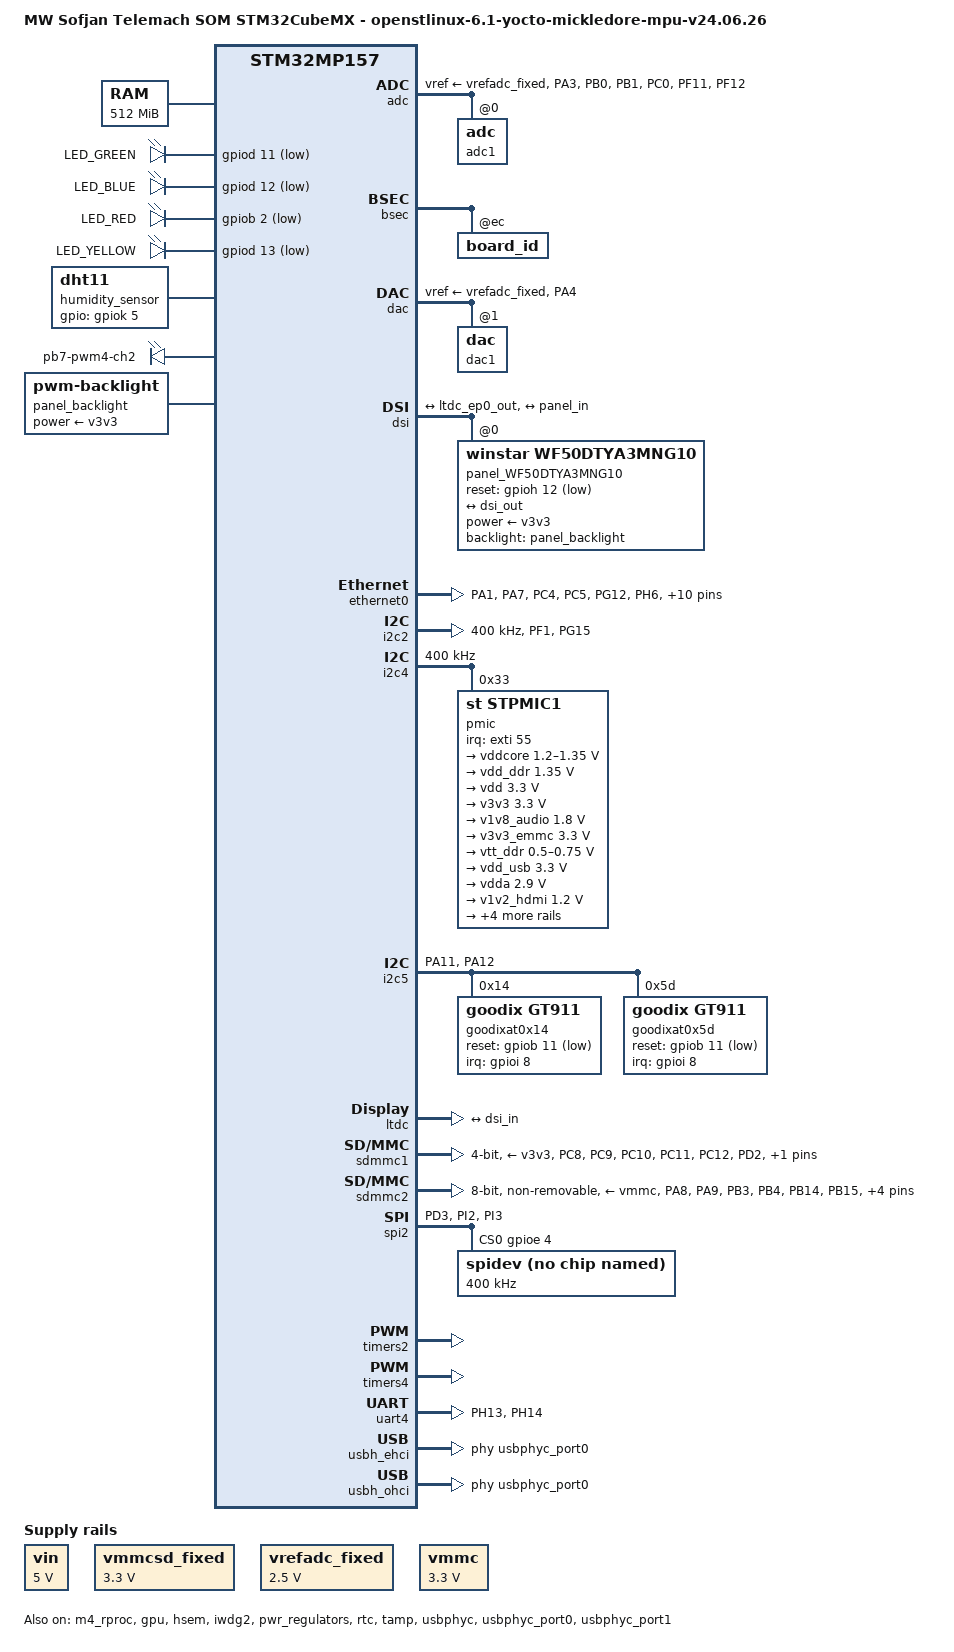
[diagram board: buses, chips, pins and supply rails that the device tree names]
// SPDX-License-Identifier: (GPL-2.0-or-later OR BSD-3-Clause)
/*
 * Copyright (C) 2024, STMicroelectronics - All Rights Reserved
 * Author: STM32CubeMX code generation for STMicroelectronics.
 */

/* For more information on Device Tree configuration, please refer to
 * https://wiki.st.com/stm32mpu/wiki/Category:Device_tree_configuration
 */

/dts-v1/;

#include <dt-bindings/pinctrl/stm32-pinfunc.h>
#include "stm32mp157.dtsi"
#include "stm32mp15xc.dtsi"
#include "stm32mp15xxaa-pinctrl.dtsi"
#include "stm32mp15-m4-srm.dtsi"

/* USER CODE BEGIN includes */
#include "stm32mp15-scmi.dtsi"
#include <dt-bindings/mfd/st,stpmic1.h>
#include <dt-bindings/rtc/rtc-stm32.h>
/* USER CODE END includes */

/ {
	model = "MW Sofjan Telemach SOM STM32CubeMX - openstlinux-6.1-yocto-mickledore-mpu-v24.06.26";
	compatible = "st,stm32mp157c-telemach-som-mx", "st,stm32mp157";

	memory@c0000000 {
		device_type = "memory";
		reg = <0xc0000000 0x20000000>;

		/* USER CODE BEGIN memory */
		/* USER CODE END memory */
	};

	reserved-memory {
		#address-cells = <1>;
		#size-cells = <1>;
		ranges;

		/* USER CODE BEGIN reserved-memory */
		mcuram:mcuram@0x30000000 {
		compatible = "shared-dma-pool";
		reg =  <0x30000000 0x40000>; /* define memory base and size for Cortex-M4 firmware*/
		no-map;
		};

		mcuram2:mcuram2@10000000{
			compatible = "shared-dma-pool";
			reg = <0x10000000 0x40000>;
			no-map;
		};

		vdev0vring0:vdev0vring0@10040000{
			compatible = "shared-dma-pool";
			reg = <0x10040000 0x1000>;
			no-map;
		};

		vdev0vring1:vdev0vring1@10041000{
			compatible = "shared-dma-pool";
			reg = <0x10041000 0x1000>;
			no-map;
		};

		vdev0buffer:vdev0buffer@10042000{
			compatible = "shared-dma-pool";
			reg = <0x10042000 0x4000>;
			no-map;
		};


		/* RETRAM memory region reserved for firmware code and data */
		retram: retram@0x38000000 {
			reg = <0x38000000 0x10000>;
		};

		optee_memory:optee@0xde000000{
			reg = <0xde000000 0x02000000>;
			no-map;
			status = "okay";
		};

		fb_reserved: fb@fd000000 {
			reg = <0xfd000000 0x8000000>;
			no-map;
		};
		/* USER CODE END reserved-memory */
	};

	/* USER CODE BEGIN root */
	led{
		compatible = "gpio-leds";

		led1_grn{
			label = "LED_GREEN";
			gpios = <&gpiod 11 GPIO_ACTIVE_LOW>;
			linux,default-trigger = "heartbeat";
			status = "okay";
			default-state = "off";
		};

		led2_blue{
			label = "LED_BLUE";
			gpios = <&gpiod 12 GPIO_ACTIVE_LOW>;
			linux,default-trigger = "cpu0";
			status = "okay";
			default-state = "off";
		};

		led3_red{
			label = "LED_RED";
			gpios = <&gpiob 2 GPIO_ACTIVE_LOW>;
			status = "okay";
			default-state = "off";
		};

		led4_grn{
			label = "LED_YELLOW";
			gpios = <&gpiod 13 GPIO_ACTIVE_LOW>;
			default-state = "off";
		};
	};

	humidity_sensor: humidity-sensor {
        compatible = "dht11";
        gpios = <&gpiok 5 0>;
    };

	/*
	panel_backlight: panel-backlight {
		compatible = "gpio-backlight";
		gpios = <&gpioa 15 GPIO_ACTIVE_HIGH>;
		default-on;
		status = "okay";
	};
	*/

	pwmleds {
		compatible = "pwm-leds";
		control {
			label = "pb7-pwm4-ch2";
			/*pwms = <&{/soc/timer@40002000/pwm} 1 500000 0>;*/
			max-brightness = <4096>;
		};
	};

	panel_backlight: panel_backlight {
		compatible = "pwm-backlight";
		/*pwms = <&{/soc/timer@40000000/pwm} 0 500000 0>;*/
		brightness-levels = <0 4 8 16 32 64 128 255>;
		default-brightness-level = <2>;
		power-supply = <&v3v3>;
		status = "okay";
	};

	usb_phy_tuning:usb-phy-tuning{
		st,hs-dc-level = <2>;
		st,fs-rftime-tuning;
		st,hs-rftime-reduction;
		st,hs-current-trim = <15>;
		st,hs-impedance-trim = <1>;
		st,squelch-level = <3>;
		st,hs-rx-offset = <2>;
		st,no-lsfs-sc;
	};

	vin:vin{
		compatible = "regulator-fixed";
		regulator-name = "vin";
		regulator-min-microvolt = <5000000>;
		regulator-max-microvolt = <5000000>;
		regulator-always-on;
	};

	vmmcsd_fixed: fixedregulator@0 {
		compatible = "regulator-fixed";
		regulator-name = "vmmcsd_fixed";
		regulator-min-microvolt = <3300000>;
		regulator-max-microvolt = <3300000>;
		regulator-always-on;
	};

	vrefadc_fixed: fixedregulator@0 {
		compatible = "regulator-fixed";
		regulator-name = "vrefadc_fixed";
		regulator-min-microvolt = <2500000>;
		regulator-max-microvolt = <2500000>;
		regulator-always-on;
	};

	vmmc: fixedregulator@1 {
		compatible = "regulator-fixed";
		regulator-name = "vmmc";
		regulator-min-microvolt = <3300000>;
		regulator-max-microvolt = <3300000>;
		startup-delay-us = <70000>;
		enable-active-high;
		regulator-always-on;
		};

	aliases{
		serial0 = &uart4;
		mmc0 = &sdmmc1;
		mmc1 = &sdmmc2;
	};

	chosen{
		#address-cells = <1>;
		#size-cells = <1>;
		ranges;
		stdout-path = "serial0:115200n8";
		framebuffer {
			compatible = "simple-framebuffer";
			clocks = <&rcc LTDC_PX>;
			status = "disabled";
		};
	};
	/* USER CODE END root */

	clocks{

		/* USER CODE BEGIN clocks */
		/* USER CODE END clocks */
	};

}; /*root*/

&pinctrl {

	adc_pins_mx: adc_mx-0 {
		pins {
			pinmux = <STM32_PINMUX('A', 3, ANALOG)>, /* ADC1_INP15 */
					 <STM32_PINMUX('B', 0, ANALOG)>, /* ADC1_INP9 */
					 <STM32_PINMUX('B', 1, ANALOG)>, /* ADC1_INP5 */
					 <STM32_PINMUX('C', 0, ANALOG)>, /* ADC1_INP10 */
					 <STM32_PINMUX('F', 11, ANALOG)>, /* ADC1_INP2 */
					 <STM32_PINMUX('F', 12, ANALOG)>; /* ADC1_INP6 */
		};
	};

	adc_sleep_pins_mx: adc_sleep_mx-0 {
		pins {
			pinmux = <STM32_PINMUX('A', 3, ANALOG)>, /* ADC1_INP15 */
					 <STM32_PINMUX('B', 0, ANALOG)>, /* ADC1_INP9 */
					 <STM32_PINMUX('B', 1, ANALOG)>, /* ADC1_INP5 */
					 <STM32_PINMUX('C', 0, ANALOG)>, /* ADC1_INP10 */
					 <STM32_PINMUX('F', 11, ANALOG)>, /* ADC1_INP2 */
					 <STM32_PINMUX('F', 12, ANALOG)>; /* ADC1_INP6 */
		};
	};

	dac1_pins_mx: dac1_mx-0 {
		pins {
			pinmux = <STM32_PINMUX('A', 4, ANALOG)>; /* DAC1_OUT1 */
		};
	};

	dac1_sleep_pins_mx: dac1_sleep_mx-0 {
		pins {
			pinmux = <STM32_PINMUX('A', 4, ANALOG)>; /* DAC1_OUT1 */
		};
	};

	eth1_pins_mx: eth1_mx-0 {
		pins1 {
			pinmux = <STM32_PINMUX('A', 1, AF11)>, /* ETH1_RX_CLK */
					 <STM32_PINMUX('A', 7, AF11)>, /* ETH1_RX_CTL */
					 <STM32_PINMUX('C', 4, AF11)>, /* ETH1_RXD0 */
					 <STM32_PINMUX('C', 5, AF11)>, /* ETH1_RXD1 */
					 <STM32_PINMUX('G', 12, AF11)>, /* ETH1_PHY_INTN */
					 <STM32_PINMUX('H', 6, AF11)>, /* ETH1_RXD2 */
					 <STM32_PINMUX('H', 7, AF11)>; /* ETH1_RXD3 */
			bias-disable;
		};
		pins2 {
			pinmux = <STM32_PINMUX('A', 2, AF11)>; /* ETH1_MDIO */
			bias-disable;
			drive-push-pull;
			slew-rate = <0>;
		};
		pins3 {
			pinmux = <STM32_PINMUX('B', 12, AF11)>, /* ETH1_TXD0 */
					 <STM32_PINMUX('B', 13, AF11)>, /* ETH1_TXD1 */
					 <STM32_PINMUX('C', 1, AF11)>, /* ETH1_MDC */
					 <STM32_PINMUX('C', 2, AF11)>, /* ETH1_TXD2 */
					 <STM32_PINMUX('E', 2, AF11)>, /* ETH1_TXD3 */
					 <STM32_PINMUX('G', 4, AF11)>, /* ETH1_GTX_CLK */
					 <STM32_PINMUX('G', 5, AF11)>, /* ETH1_CLK125 */
					 <STM32_PINMUX('G', 11, AF11)>; /* ETH1_TX_CTL */
			bias-disable;
			drive-push-pull;
			slew-rate = <2>;
		};
	};

	eth1_sleep_pins_mx: eth1_sleep_mx-0 {
		pins {
			pinmux = <STM32_PINMUX('A', 1, ANALOG)>, /* ETH1_RX_CLK */
					 <STM32_PINMUX('A', 2, ANALOG)>, /* ETH1_MDIO */
					 <STM32_PINMUX('A', 7, ANALOG)>, /* ETH1_RX_CTL */
					 <STM32_PINMUX('B', 12, ANALOG)>, /* ETH1_TXD0 */
					 <STM32_PINMUX('B', 13, ANALOG)>, /* ETH1_TXD1 */
					 <STM32_PINMUX('C', 1, ANALOG)>, /* ETH1_MDC */
					 <STM32_PINMUX('C', 2, ANALOG)>, /* ETH1_TXD2 */
					 <STM32_PINMUX('C', 4, ANALOG)>, /* ETH1_RXD0 */
					 <STM32_PINMUX('C', 5, ANALOG)>, /* ETH1_RXD1 */
					 <STM32_PINMUX('E', 2, ANALOG)>, /* ETH1_TXD3 */
					 <STM32_PINMUX('G', 4, ANALOG)>, /* ETH1_GTX_CLK */
					 <STM32_PINMUX('G', 5, ANALOG)>, /* ETH1_CLK125 */
					 <STM32_PINMUX('G', 11, ANALOG)>, /* ETH1_TX_CTL */
					 <STM32_PINMUX('G', 12, ANALOG)>, /* ETH1_PHY_INTN */
					 <STM32_PINMUX('H', 6, ANALOG)>, /* ETH1_RXD2 */
					 <STM32_PINMUX('H', 7, ANALOG)>; /* ETH1_RXD3 */
		};
	};

	i2c2_pins_mx: i2c2_mx-0 {
		pins {
			pinmux = <STM32_PINMUX('F', 1, AF4)>, /* I2C2_SCL */
					 <STM32_PINMUX('G', 15, AF4)>; /* I2C2_SDA */
			bias-disable;
			drive-open-drain;
			slew-rate = <0>;
		};
	};

	i2c2_sleep_pins_mx: i2c2_sleep_mx-0 {
		pins {
			pinmux = <STM32_PINMUX('F', 1, ANALOG)>, /* I2C2_SCL */
					 <STM32_PINMUX('G', 15, ANALOG)>; /* I2C2_SDA */
		};
	};

	i2c5_pins_mx: i2c5_mx-0 {
		pins {
			pinmux = <STM32_PINMUX('A', 11, AF4)>, /* I2C5_SCL */
					 <STM32_PINMUX('A', 12, AF4)>; /* I2C5_SDA */
			bias-pull-up;
			drive-open-drain;
			slew-rate = <0>;
		};
	};

	i2c5_sleep_pins_mx: i2c5_sleep_mx-0 {
		pins {
			pinmux = <STM32_PINMUX('A', 11, ANALOG)>, /* I2C5_SCL */
					 <STM32_PINMUX('A', 12, ANALOG)>; /* I2C5_SDA */
		};
	};

	sdmmc1_pins_mx: sdmmc1_mx-0 {
		pins1 {
			pinmux = <STM32_PINMUX('C', 8, AF12)>, /* SDMMC1_D0 */
					 <STM32_PINMUX('C', 9, AF12)>, /* SDMMC1_D1 */
					 <STM32_PINMUX('C', 10, AF12)>, /* SDMMC1_D2 */
					 <STM32_PINMUX('C', 11, AF12)>; /* SDMMC1_D3 */
			bias-pull-up;
			drive-push-pull;
			slew-rate = <1>;
		};
		pins2 {
			pinmux = <STM32_PINMUX('C', 12, AF12)>; /* SDMMC1_CK */
			bias-disable;
			drive-push-pull;
			slew-rate = <2>;
		};
		pins3 {
			pinmux = <STM32_PINMUX('D', 2, AF12)>; /* SDMMC1_CMD */
			bias-disable;
			drive-push-pull;
			slew-rate = <1>;
		};
	};

	sdmmc1_opendrain_pins_mx: sdmmc1_opendrain_mx-0 {
		pins1 {
			pinmux = <STM32_PINMUX('C', 8, AF12)>, /* SDMMC1_D0 */
					 <STM32_PINMUX('C', 9, AF12)>, /* SDMMC1_D1 */
					 <STM32_PINMUX('C', 10, AF12)>, /* SDMMC1_D2 */
					 <STM32_PINMUX('C', 11, AF12)>; /* SDMMC1_D3 */
			bias-pull-up;
			drive-push-pull;
			slew-rate = <1>;
		};
		pins2 {
			pinmux = <STM32_PINMUX('C', 12, AF12)>; /* SDMMC1_CK */
			bias-disable;
			drive-push-pull;
			slew-rate = <2>;
		};
		pins3 {
			pinmux = <STM32_PINMUX('D', 2, AF12)>; /* SDMMC1_CMD */
			bias-disable;
			drive-open-drain;
			slew-rate = <1>;
		};
	};

	sdmmc1_sleep_pins_mx: sdmmc1_sleep_mx-0 {
		pins {
			pinmux = <STM32_PINMUX('C', 8, ANALOG)>, /* SDMMC1_D0 */
					 <STM32_PINMUX('C', 9, ANALOG)>, /* SDMMC1_D1 */
					 <STM32_PINMUX('C', 10, ANALOG)>, /* SDMMC1_D2 */
					 <STM32_PINMUX('C', 11, ANALOG)>, /* SDMMC1_D3 */
					 <STM32_PINMUX('C', 12, ANALOG)>, /* SDMMC1_CK */
					 <STM32_PINMUX('D', 2, ANALOG)>; /* SDMMC1_CMD */
		};
	};

	sdmmc2_pins_mx: sdmmc2_mx-0 {
		pins1 {
			pinmux = <STM32_PINMUX('A', 8, AF9)>, /* SDMMC2_D4 */
					 <STM32_PINMUX('A', 9, AF10)>, /* SDMMC2_D5 */
					 <STM32_PINMUX('B', 3, AF9)>, /* SDMMC2_D2 */
					 <STM32_PINMUX('B', 4, AF9)>, /* SDMMC2_D3 */
					 <STM32_PINMUX('B', 14, AF9)>, /* SDMMC2_D0 */
					 <STM32_PINMUX('B', 15, AF9)>, /* SDMMC2_D1 */
					 <STM32_PINMUX('C', 6, AF10)>, /* SDMMC2_D6 */
					 <STM32_PINMUX('C', 7, AF10)>, /* SDMMC2_D7 */
					 <STM32_PINMUX('G', 6, AF10)>; /* SDMMC2_CMD */
			bias-disable;
			drive-push-pull;
			slew-rate = <1>;
		};
		pins2 {
			pinmux = <STM32_PINMUX('E', 3, AF9)>; /* SDMMC2_CK */
			bias-disable;
			drive-push-pull;
			slew-rate = <3>;
		};
	};

	sdmmc2_opendrain_pins_mx: sdmmc2_opendrain_mx-0 {
		pins1 {
			pinmux = <STM32_PINMUX('A', 8, AF9)>, /* SDMMC2_D4 */
					 <STM32_PINMUX('A', 9, AF10)>, /* SDMMC2_D5 */
					 <STM32_PINMUX('B', 3, AF9)>, /* SDMMC2_D2 */
					 <STM32_PINMUX('B', 4, AF9)>, /* SDMMC2_D3 */
					 <STM32_PINMUX('B', 14, AF9)>, /* SDMMC2_D0 */
					 <STM32_PINMUX('B', 15, AF9)>, /* SDMMC2_D1 */
					 <STM32_PINMUX('C', 6, AF10)>, /* SDMMC2_D6 */
					 <STM32_PINMUX('C', 7, AF10)>; /* SDMMC2_D7 */
			bias-disable;
			drive-push-pull;
			slew-rate = <1>;
		};
		pins2 {
			pinmux = <STM32_PINMUX('E', 3, AF9)>; /* SDMMC2_CK */
			bias-disable;
			drive-push-pull;
			slew-rate = <3>;
		};
		pins3 {
			pinmux = <STM32_PINMUX('G', 6, AF10)>; /* SDMMC2_CMD */
			bias-disable;
			drive-open-drain;
			slew-rate = <1>;
		};
	};

	sdmmc2_sleep_pins_mx: sdmmc2_sleep_mx-0 {
		pins {
			pinmux = <STM32_PINMUX('A', 8, ANALOG)>, /* SDMMC2_D4 */
					 <STM32_PINMUX('A', 9, ANALOG)>, /* SDMMC2_D5 */
					 <STM32_PINMUX('B', 3, ANALOG)>, /* SDMMC2_D2 */
					 <STM32_PINMUX('B', 4, ANALOG)>, /* SDMMC2_D3 */
					 <STM32_PINMUX('B', 14, ANALOG)>, /* SDMMC2_D0 */
					 <STM32_PINMUX('B', 15, ANALOG)>, /* SDMMC2_D1 */
					 <STM32_PINMUX('C', 6, ANALOG)>, /* SDMMC2_D6 */
					 <STM32_PINMUX('C', 7, ANALOG)>, /* SDMMC2_D7 */
					 <STM32_PINMUX('E', 3, ANALOG)>, /* SDMMC2_CK */
					 <STM32_PINMUX('G', 6, ANALOG)>; /* SDMMC2_CMD */
		};
	};

	spi2_pins_mx: spi2_mx-0 {
		pins {
			pinmux = <STM32_PINMUX('D', 3, AF5)>, /* SPI2_SCK */
					 <STM32_PINMUX('I', 2, AF5)>, /* SPI2_MISO */
					 <STM32_PINMUX('I', 3, AF5)>; /* SPI2_MOSI */
			bias-disable;
			drive-push-pull;
			slew-rate = <1>;
		};
	};

	spi2_sleep_pins_mx: spi2_sleep_mx-0 {
		pins {
			pinmux = <STM32_PINMUX('D', 3, ANALOG)>, /* SPI2_SCK */
					 <STM32_PINMUX('I', 2, ANALOG)>, /* SPI2_MISO */
					 <STM32_PINMUX('I', 3, ANALOG)>; /* SPI2_MOSI */
		};
	};

	tim2_pwm_pins_mx: tim2_pwm_mx-0 {
		pins {
			pinmux = <STM32_PINMUX('A', 15, AF1)>; /* TIM2_CH1 */
			bias-disable;
			drive-push-pull;
			slew-rate = <0>;
		};
	};

	tim2_pwm_sleep_pins_mx: tim2_pwm_sleep_mx-0 {
		pins {
			pinmux = <STM32_PINMUX('A', 15, ANALOG)>; /* TIM2_CH1 */
		};
	};

	tim4_pwm_pins_mx: tim4_pwm_mx-0 {
		pins {
			pinmux = <STM32_PINMUX('B', 7, AF2)>; /* TIM4_CH2 */
			bias-disable;
			drive-push-pull;
			slew-rate = <0>;
		};
	};

	tim4_pwm_sleep_pins_mx: tim4_pwm_sleep_mx-0 {
		pins {
			pinmux = <STM32_PINMUX('B', 7, ANALOG)>; /* TIM4_CH2 */
		};
	};

	uart4_pins_mx: uart4_mx-0 {
		pins1 {
			pinmux = <STM32_PINMUX('H', 13, AF8)>; /* UART4_TX */
			bias-disable;
			drive-push-pull;
			slew-rate = <0>;
		};
		pins2 {
			pinmux = <STM32_PINMUX('H', 14, AF8)>; /* UART4_RX */
			bias-pull-up;
		};
	};

	uart4_idle_pins_mx: uart4_idle_mx-0 {
		pins1 {
			pinmux = <STM32_PINMUX('H', 13, ANALOG)>; /* UART4_TX */
		};
		pins2 {
			pinmux = <STM32_PINMUX('H', 14, AF8)>; /* UART4_RX */
			bias-pull-up;
		};
	};

	uart4_sleep_pins_mx: uart4_sleep_mx-0 {
		pins {
			pinmux = <STM32_PINMUX('H', 13, ANALOG)>, /* UART4_TX */
					 <STM32_PINMUX('H', 14, ANALOG)>; /* UART4_RX */
		};
	};

	/* USER CODE BEGIN pinctrl */
	/* USER CODE END pinctrl */
};

&pinctrl_z {

	i2c4_pins_z_mx: i2c4_mx-0 {
		pins {
			pinmux = <STM32_PINMUX('Z', 4, AF6)>, /* I2C4_SCL */
					 <STM32_PINMUX('Z', 5, AF6)>; /* I2C4_SDA */
			bias-pull-up;
			drive-open-drain;
			slew-rate = <0>;
		};
	};

	i2c4_sleep_pins_z_mx: i2c4_sleep_mx-0 {
		pins {
			pinmux = <STM32_PINMUX('Z', 4, ANALOG)>, /* I2C4_SCL */
					 <STM32_PINMUX('Z', 5, ANALOG)>; /* I2C4_SDA */
		};
	};

	/* USER CODE BEGIN pinctrl_z */
	/* USER CODE END pinctrl_z */
};

&m4_rproc{
	/*Restriction: "memory-region" property is not managed - please to use User-Section if needed*/
	mboxes = <&ipcc 2>;
	mbox-names = "shutdown";
	status = "okay";

	/* USER CODE BEGIN m4_rproc */
	memory-region = <&retram>, <&mcuram>, <&mcuram2>, <&vdev0vring0>,
			<&vdev0vring1>, <&vdev0buffer>;
	interrupt-parent = <&exti>;
	interrupts = <68 1>;
	wakeup-source;
	/* USER CODE END m4_rproc */

	m4_system_resources{
		status = "okay";

		/* USER CODE BEGIN m4_system_resources */
		/* USER CODE END m4_system_resources */
	};
};

&adc{
	pinctrl-names = "default", "sleep";
	pinctrl-0 = <&adc_pins_mx>;
	pinctrl-1 = <&adc_sleep_pins_mx>;
	status = "okay";

	/* USER CODE BEGIN adc */
	vdd-supply = <&vdd>;
	vdda-supply = <&vdda>;
	vref-supply = <&vrefadc_fixed>; /* Connected to external source 2.5V */

	adc1: adc@0 {
		#address-cells = <1>;
		#size-cells = <0>;
		assigned-resolution-bits = <12>;
		status = "okay";
		channel@0 {
			reg = <0>;
			/* 16.5 ck_cycles sampling time */
			st,min-sample-time-ns = <5000>;
			assigned-resolution-bits = <12>;
		};
		channel@1 {
			reg = <1>;
			st,min-sample-time-ns = <5000>;
			assigned-resolution-bits = <12>;
		};
		channel@2 {
			reg = <2>;
			/* 16.5 ck_cycles sampling time */
			st,min-sample-time-ns = <5000>;
			assigned-resolution-bits = <12>;
		};
		channel@5 {
			reg = <5>;
			st,min-sample-time-ns = <5000>;
			assigned-resolution-bits = <12>;
		};
		channel@2 {
			reg = <2>;
			st,min-sample-time-ns = <5000>;
			assigned-resolution-bits = <12>;
		};
		channel@9 {
			reg = <9>;
			st,min-sample-time-ns = <5000>;
			assigned-resolution-bits = <12>;
		};
		channel@10 {
			reg = <10>;
			st,min-sample-time-ns = <5000>;
			assigned-resolution-bits = <12>;
		};
		channel@15 {
			reg = <15>;
			st,min-sample-time-ns = <5000>;
			assigned-resolution-bits = <12>;
		};
	};
	/* USER CODE END adc */
};

&bsec{
	status = "okay";

	/* USER CODE BEGIN bsec */
	board_id: board_id@ec {
 		reg = <0xec 0x4>;
 		st,non-secure-otp;
 	};
	/* USER CODE END bsec */
};

&dac{
	pinctrl-names = "default", "sleep";
	pinctrl-0 = <&dac1_pins_mx>;
	pinctrl-1 = <&dac1_sleep_pins_mx>;
	status = "okay";

	/* USER CODE BEGIN dac */
	vref-supply = <&vrefadc_fixed>; /* Connected to external source 2.5V */
	dac1: dac@1 {
		status = "okay";	/* Enable DAC1 */
	};
	/* USER CODE END dac */
};

&dma1{
	status = "okay";

	/* USER CODE BEGIN dma1 */
	/* USER CODE END dma1 */
};

&dma2{
	status = "disabled";

	/* USER CODE BEGIN dma2 */
	/* USER CODE END dma2 */
};

&dmamux1{
	status = "okay";

	dma-masters = <&dma1>;
	dma-channels = <8>;

	/* USER CODE BEGIN dmamux1 */
	/* USER CODE END dmamux1 */
};

&dsi{
	status = "okay";

	/* USER CODE BEGIN dsi */
	#address-cells = <1>;
	#size-cells = <0>;

	ports {
		#address-cells = <1>;
		#size-cells = <0>;

		port@0 {
			reg = <0>;
			dsi_in: endpoint {
				remote-endpoint = <&ltdc_ep0_out>;
			};
		};

		port@1 {
			reg = <1>;
			dsi_out: endpoint {
				remote-endpoint = <&panel_in>;
			};
		};
	};

	panel_WF50DTYA3MNG10: panel-WF50DTYA3MNG10@0 {
		compatible = "winstar,WF50DTYA3MNG10";
		reg = <0>;
		reset-gpios = <&gpioh 12 GPIO_ACTIVE_LOW>;
		power-supply = <&v3v3>;
		backlight = <&panel_backlight>;
		status = "okay";

		port {
			panel_in: endpoint {
				remote-endpoint = <&dsi_out>;
			};
		};
	};
	/* USER CODE END dsi */
};

&ethernet0{
	pinctrl-names = "default", "sleep";
	pinctrl-0 = <&eth1_pins_mx>;
	pinctrl-1 = <&eth1_sleep_pins_mx>;
	status = "okay";

	/* USER CODE BEGIN ethernet0 */
	/* USER CODE END ethernet0 */
};

&gpu{
	status = "okay";

	/* USER CODE BEGIN gpu */
	/* USER CODE END gpu */
};

&hsem{
	status = "okay";

	/* USER CODE BEGIN hsem */
	/* USER CODE END hsem */
};

&i2c2{
	pinctrl-names = "default", "sleep";
	pinctrl-0 = <&i2c2_pins_mx>;
	pinctrl-1 = <&i2c2_sleep_pins_mx>;
	status = "okay";

	/* USER CODE BEGIN i2c2 */
	i2c-scl-rising-time-ns = <185>;
	i2c-scl-falling-time-ns = <20>;
	clock-frequency = <400000>;
	/delete-property/ dmas;
	/delete-property/ dma-names;
	/* USER CODE END i2c2 */
};

&i2c4{
	pinctrl-names = "default", "sleep";
	pinctrl-0 = <&i2c4_pins_z_mx>;
	pinctrl-1 = <&i2c4_sleep_pins_z_mx>;
	status = "okay";

	/* USER CODE BEGIN i2c4 */
	i2c-scl-rising-time-ns = <185>;
	i2c-scl-falling-time-ns = <20>;
	clock-frequency = <400000>;
	/delete-property/ dmas;
	/delete-property/ dma-names;

	pmic:stpmic@33{
		compatible = "st,stpmic1";
		reg = <0x33>;
		interrupts-extended = <&exti 55 IRQ_TYPE_EDGE_FALLING>;
		interrupt-controller;
		#interrupt-cells = <2>;
		status = "okay";

		regulators{
			compatible = "st,stpmic1-regulators";
			buck1-supply = <&vin>;
			buck2-supply = <&vin>;
			buck3-supply = <&vin>;
			buck4-supply = <&vin>;
			ldo1-supply = <&v3v3>;
			ldo2-supply = <&vin>;
			ldo3-supply = <&vdd_ddr>;
			ldo4-supply = <&vin>;
			ldo5-supply = <&vin>;
			ldo6-supply = <&v3v3>;
			vref_ddr-supply = <&vin>;
			boost-supply = <&vin>;
			pwr_sw1-supply = <&bst_out>;
			pwr_sw2-supply = <&bst_out>;

			vddcore:buck1{
				regulator-name = "vddcore";
				regulator-min-microvolt = <1200000>;
				regulator-max-microvolt = <1350000>;
				regulator-always-on;
				regulator-initial-mode = <0>;
				regulator-over-current-protection;
			};

			vdd_ddr:buck2{
				regulator-name = "vdd_ddr";
				regulator-min-microvolt = <1350000>;
				regulator-max-microvolt = <1350000>;
				regulator-always-on;
				regulator-initial-mode = <0>;
				regulator-over-current-protection;
			};

			vdd:buck3{
				regulator-name = "vdd";
				regulator-min-microvolt = <3300000>;
				regulator-max-microvolt = <3300000>;
				regulator-always-on;
				st,mask-reset;
				regulator-initial-mode = <0>;
				regulator-over-current-protection;
			};

			v3v3:buck4{
				regulator-name = "v3v3";
				regulator-min-microvolt = <3300000>;
				regulator-max-microvolt = <3300000>;
				regulator-always-on;
				regulator-over-current-protection;
				regulator-initial-mode = <0>;
			};

			v1v8_audio:ldo1{
				regulator-name = "v1v8_audio";
				regulator-min-microvolt = <1800000>;
				regulator-max-microvolt = <1800000>;
				regulator-always-on;
				interrupts = <IT_CURLIM_LDO1 0>;
			};

			v3v3_emmc:ldo2{
				regulator-name = "v3v3_emmc";
				regulator-min-microvolt = <3300000>;
				regulator-max-microvolt = <3300000>;
				regulator-always-on;
				interrupts = <IT_CURLIM_LDO2 0>;
			};

			vtt_ddr:ldo3{
				regulator-name = "vtt_ddr";
				regulator-min-microvolt = <500000>;
				regulator-max-microvolt = <750000>;
				regulator-always-on;
				regulator-over-current-protection;
			};

			vdd_usb:ldo4{
				regulator-name = "vdd_usb";
				regulator-min-microvolt = <3300000>;
				regulator-max-microvolt = <3300000>;
				interrupts = <IT_CURLIM_LDO4 0>;
				regulator-always-on;
			};

			vdda:ldo5{
				regulator-name = "vdda";
				regulator-min-microvolt = <2900000>;
				regulator-max-microvolt = <2900000>;
				interrupts = <IT_CURLIM_LDO5 0>;
				regulator-always-on;
			};

			v1v2_hdmi:ldo6{
				regulator-name = "v1v2_hdmi";
				regulator-min-microvolt = <1200000>;
				regulator-max-microvolt = <1200000>;
				regulator-always-on;
				interrupts = <IT_CURLIM_LDO6 0>;
			};

			vref_ddr:vref_ddr{
				regulator-name = "vref_ddr";
				regulator-always-on;
				regulator-over-current-protection;
			};

			bst_out:boost{
				regulator-name = "bst_out";
				interrupts = <IT_OCP_BOOST 0>;
			};

			vbus_otg:pwr_sw1{
				regulator-name = "vbus_otg";
				interrupts = <IT_OCP_OTG 0>;
			};

			vbus_sw:pwr_sw2{
				regulator-name = "vbus_sw";
				interrupts = <IT_OCP_SWOUT 0>;
				regulator-active-discharge = <1>;
			};
		};

		onkey{
			compatible = "st,stpmic1-onkey";
			interrupts = <IT_PONKEY_F 0>, <IT_PONKEY_R 0>;
			interrupt-names = "onkey-falling", "onkey-rising";
			power-off-time-sec = <10>;
			status = "okay";
		};

		watchdog {
			compatible = "st,stpmic1-wdt";
			status = "disabled";
		};
	};
	/* USER CODE END i2c4 */
};

&i2c5{
	pinctrl-names = "default", "sleep";
	pinctrl-0 = <&i2c5_pins_mx>;
	pinctrl-1 = <&i2c5_sleep_pins_mx>;
	status = "okay";

	/* USER CODE BEGIN i2c5 */
	/delete-property/ dmas;
	/delete-property/ dma-names;

	goodixat0x14: gt911@14 {
		compatible = "goodix,gt911";
		reg = <0x14>;
		pinctrl-names = "default";
		interrupt-parent = <&gpioi>;
		interrupts = <8 IRQ_TYPE_EDGE_FALLING>;
		reset-gpios = <&gpiob 11 GPIO_ACTIVE_LOW>;
		touchscreen-size-x = <720>;
		touchscreen-size-y = <1280>;
	};

	goodixat0x5d: gt911@5d {
		compatible = "goodix,gt911";
		reg = <0x5d>;
		pinctrl-names = "default";
		interrupt-parent = <&gpioi>;
		interrupts = <8 IRQ_TYPE_EDGE_FALLING>;
		reset-gpios = <&gpiob 11 GPIO_ACTIVE_LOW>;
		touchscreen-size-x = <720>;
		touchscreen-size-y = <1280>;
	};
	/* USER CODE END i2c5 */
};

&ipcc{
	status = "okay";

	/* USER CODE BEGIN ipcc */
	/* USER CODE END ipcc */
};

&iwdg2{
	status = "okay";

	/* USER CODE BEGIN iwdg2 */
	timeout-sec = <32>;
	/* USER CODE END iwdg2 */
};

&ltdc{
	status = "okay";

	/* USER CODE BEGIN ltdc */
	port {
		#address-cells = <1>;
		#size-cells = <0>;

		ltdc_ep0_out: endpoint@0 {
			reg = <0>;
			remote-endpoint = <&dsi_in>;
		};
	};
	/* USER CODE END ltdc */
};

&m4_dma2{
	status = "okay";

	/* USER CODE BEGIN m4_dma2 */
	/* USER CODE END m4_dma2 */
};

&mdma1{
	status = "okay";

	/* USER CODE BEGIN mdma1 */
	/* USER CODE END mdma1 */
};

&pwr_regulators{
	status = "okay";

	/* USER CODE BEGIN pwr_regulators */
	/* USER CODE END pwr_regulators */
};

&rcc{
	status = "okay";

	/* USER CODE BEGIN rcc */
	/* USER CODE END rcc */
};

&rtc{
	status = "okay";

	/* USER CODE BEGIN rtc */
	st,lsco = <RTC_OUT1>;
	/* USER CODE END rtc */
};

&sdmmc1{
	pinctrl-names = "default", "opendrain", "sleep";
	pinctrl-0 = <&sdmmc1_pins_mx>;
	pinctrl-1 = <&sdmmc1_opendrain_pins_mx>;
	pinctrl-2 = <&sdmmc1_sleep_pins_mx>;
	status = "okay";

	/* USER CODE BEGIN sdmmc1 */
	/*broken-cd;*/
	cd-gpios = <&gpioj 6 GPIO_ACTIVE_LOW>;
	disable-wp;
	st,neg-edge;
	bus-width = <4>;
	vmmc-supply = <&v3v3>;
	/* USER CODE END sdmmc1 */
};

&sdmmc2{
	pinctrl-names = "default", "opendrain", "sleep";
	pinctrl-0 = <&sdmmc2_pins_mx>;
	pinctrl-1 = <&sdmmc2_opendrain_pins_mx>;
	pinctrl-2 = <&sdmmc2_sleep_pins_mx>;
	status = "okay";

	/* USER CODE BEGIN sdmmc2 */
	non-removable;
	no-sd;
	no-sdio;
	st,neg-edge;
	bus-width = <8>;
	vmmc-supply = <&vmmc>;
	vqmmc-supply = <&vmmc>;
	mmc-ddr-3_3v;
	/* USER CODE END sdmmc2 */
};

&spi2{
	pinctrl-names = "default", "sleep";
	pinctrl-0 = <&spi2_pins_mx>;
	pinctrl-1 = <&spi2_sleep_pins_mx>;
	status = "okay";

	/* USER CODE BEGIN spi2 */
	cs-gpios = <&gpioe 4 0>;
    	spidev@0{
        compatible = "rohm,dh2228fv";
        reg = <0>;
        spi-max-frequency = <400000>;
    };
	/* USER CODE END spi2 */
};

&tamp{
	status = "okay";

	/* USER CODE BEGIN tamp */
	/* USER CODE END tamp */
};

&timers2{
	status = "okay";

	/* USER CODE BEGIN timers2 */
	/* USER CODE END timers2 */

	pwm{
		pinctrl-names = "default", "sleep";
		pinctrl-0 = <&tim2_pwm_pins_mx>;
		pinctrl-1 = <&tim2_pwm_sleep_pins_mx>;
		status = "okay";

		/* USER CODE BEGIN timers2_pwm */

		/* USER CODE END timers2_pwm */
	};
};

&timers4{
	status = "okay";

	/* USER CODE BEGIN timers4 */
	/* USER CODE END timers4 */

	pwm{
		pinctrl-names = "default", "sleep";
		pinctrl-0 = <&tim4_pwm_pins_mx>;
		pinctrl-1 = <&tim4_pwm_sleep_pins_mx>;
		status = "okay";

		/* USER CODE BEGIN timers4_pwm */
		/* USER CODE END timers4_pwm */
	};
};

&uart4{
	pinctrl-names = "default", "idle", "sleep";
	pinctrl-0 = <&uart4_pins_mx>;
	pinctrl-1 = <&uart4_idle_pins_mx>;
	pinctrl-2 = <&uart4_sleep_pins_mx>;
	status = "okay";

	/* USER CODE BEGIN uart4 */
	/delete-property/dmas;
	/delete-property/dma-names;
	/* USER CODE END uart4 */
};

&usbh_ehci{
	status = "okay";

	/* USER CODE BEGIN usbh_ehci */
	phys = <&usbphyc_port0>;
	phy-names = "usb";
	/* USER CODE END usbh_ehci */
};

&usbh_ohci{
	status = "okay";

	/* USER CODE BEGIN usbh_ohci */
	phys = <&usbphyc_port0>;
	phy-names = "usb";
	/* USER CODE END usbh_ohci */
};

&usbphyc{
	status = "okay";

	/* USER CODE BEGIN usbphyc */
	/* USER CODE END usbphyc */
};

&usbphyc_port0{
	status = "okay";

	/* USER CODE BEGIN usbphyc_port0 */
	phy-supply = <&vdd_usb>;
	st,phy-tuning = <&usb_phy_tuning>;
	/* USER CODE END usbphyc_port0 */
};

&usbphyc_port1{
	status = "okay";

	/* USER CODE BEGIN usbphyc_port1 */
	phy-supply = <&vdd_usb>;
	st,phy-tuning = <&usb_phy_tuning>;
	/* USER CODE END usbphyc_port1 */
};

/* USER CODE BEGIN addons */
&cpu0{
	cpu-supply = <&vddcore>;
};

&cpu1{
	cpu-supply = <&vddcore>;
};

&cpu0 {
	clocks = <&scmi_clk CK_SCMI_MPU>;
};

&cpu1 {
	clocks = <&scmi_clk CK_SCMI_MPU>;
};

&cryp1 {
	clocks = <&scmi_clk CK_SCMI_CRYP1>;
	resets = <&scmi_reset RST_SCMI_CRYP1>;
};

&dsi {
	clocks = <&rcc DSI>, <&scmi_clk CK_SCMI_HSE>, <&rcc DSI_PX>;
};

&gpioz {
	clocks = <&scmi_clk CK_SCMI_GPIOZ>;
};

&hash1 {
	clocks = <&scmi_clk CK_SCMI_HASH1>;
	resets = <&scmi_reset RST_SCMI_HASH1>;
};

&i2c4 {
	clocks = <&scmi_clk CK_SCMI_I2C4>;
	resets = <&scmi_reset RST_SCMI_I2C4>;
};

&i2c6 {
	clocks = <&scmi_clk CK_SCMI_I2C6>;
	resets = <&scmi_reset RST_SCMI_I2C6>;
};

&iwdg2 {
	clocks = <&rcc IWDG2>, <&scmi_clk CK_SCMI_LSI>;
};

&m4_rproc {
	resets = <&scmi_reset RST_SCMI_MCU>,
		 <&scmi_reset RST_SCMI_MCU_HOLD_BOOT>;
	reset-names = "mcu_rst", "hold_boot";
	/delete-property/ st,syscfg-holdboot;
};

&mdma1 {
	resets = <&scmi_reset RST_SCMI_MDMA>;
};

&mlahb {
	resets = <&scmi_reset RST_SCMI_MCU>;
};

&rcc {
	compatible = "st,stm32mp1-rcc-secure", "syscon";
	clock-names = "hse", "hsi", "csi", "lse", "lsi";
	clocks = <&scmi_clk CK_SCMI_HSE>,
		 <&scmi_clk CK_SCMI_HSI>,
		 <&scmi_clk CK_SCMI_CSI>,
		 <&scmi_clk CK_SCMI_LSE>,
		 <&scmi_clk CK_SCMI_LSI>;
};

&rng1 {
	clocks = <&scmi_clk CK_SCMI_RNG1>;
	resets = <&scmi_reset RST_SCMI_RNG1>;
};

&rtc {
	clocks = <&scmi_clk CK_SCMI_RTCAPB>, <&scmi_clk CK_SCMI_RTC>;
};

&usart1 {
	clocks = <&scmi_clk CK_SCMI_USART1>;
};
/* USER CODE END addons */

